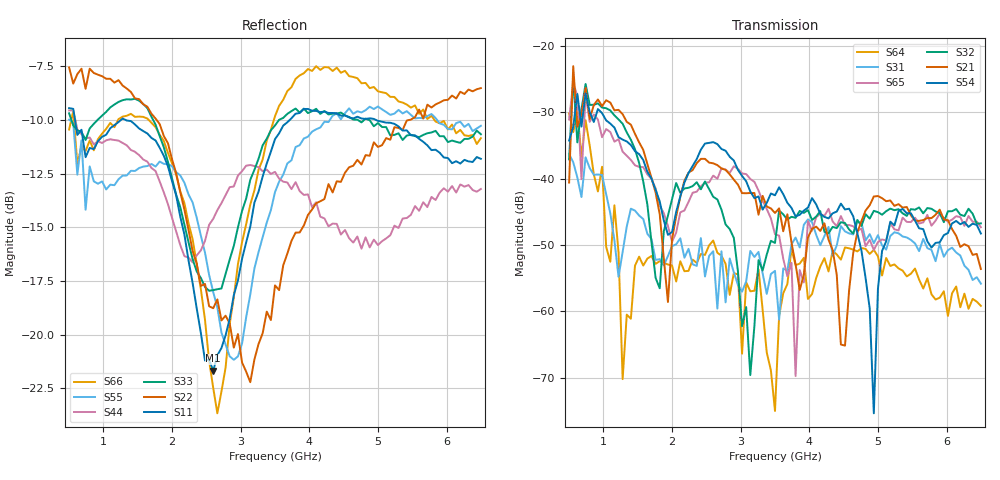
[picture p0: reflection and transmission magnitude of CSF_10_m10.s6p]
!Keysight Technologies,M9804A,MY58100912,A.14.10.03
!Date: Thursday, April 27, 2023 10:28:33
!Correction: S11(C  6-Port  )
!S12(C  6-Port  )
!S13(C  6-Port  )
!S14(C  6-Port  )
!S15(C  6-Port  )
!S16(C  6-Port  )
!S21(C  6-Port  )
!S22(C  6-Port  )
!S23(C  6-Port  )
!S24(C  6-Port  )
!S25(C  6-Port  )
!S26(C  6-Port  )
!S31(C  6-Port  )
!S32(C  6-Port  )
!S33(C  6-Port  )
!S34(C  6-Port  )
!S35(C  6-Port  )
!S36(C  6-Port  )
!S41(C  6-Port  )
!S42(C  6-Port  )
!S43(C  6-Port  )
!S44(C  6-Port  )
!S45(C  6-Port  )
!S46(C  6-Port  )
!S51(C  6-Port  )
!S52(C  6-Port  )
!S53(C  6-Port  )
!S54(C  6-Port  )
!S55(C  6-Port  )
!S56(C  6-Port  )
!S61(C  6-Port  )
!S62(C  6-Port  )
!S63(C  6-Port  )
!S64(C  6-Port  )
!S65(C  6-Port  )
!S66(C  6-Port  )
!S6P File: Measurement: :
# Hz S  RI  R 50
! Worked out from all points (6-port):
!   101 points, 500 MHz to 6.5 GHz, reference 50 ohm
!   strongest paths, dB at 500 MHz, 2 GHz, 3.5 GHz, 5 GHz, 6.5 GHz:
!     S54: -34.3, -48.1, -42.5, -56.6, -48.3
!     S21: -40.6, -49.1, -45.2, -42.6, -53.6
!     S32: -37.1, -43.1, -49.7, -45.1, -46.8
!     S65: -31.1, -49.5, -48.4, -49.6, -47.3
!     S31: -36.3, -50.2, -53.9, -48.5, -55.8
!     S64: -30.2, -53.1, -75.0, -51.7, -59.2
!   lowest |S11| = -21.7 dB at 2.6 GHz (marker M1), VSWR 1.18, Z = 42.6 + j2.05 ohm
!   |S11| at or under -10 dB: 585.4 MHz to 1.257 GHz (671.6 MHz wide, 72.9 % of centre); 1.32 GHz to 3.716 GHz (2.395 GHz wide, 95.1 % of centre); 4.969 GHz to end of sweep
